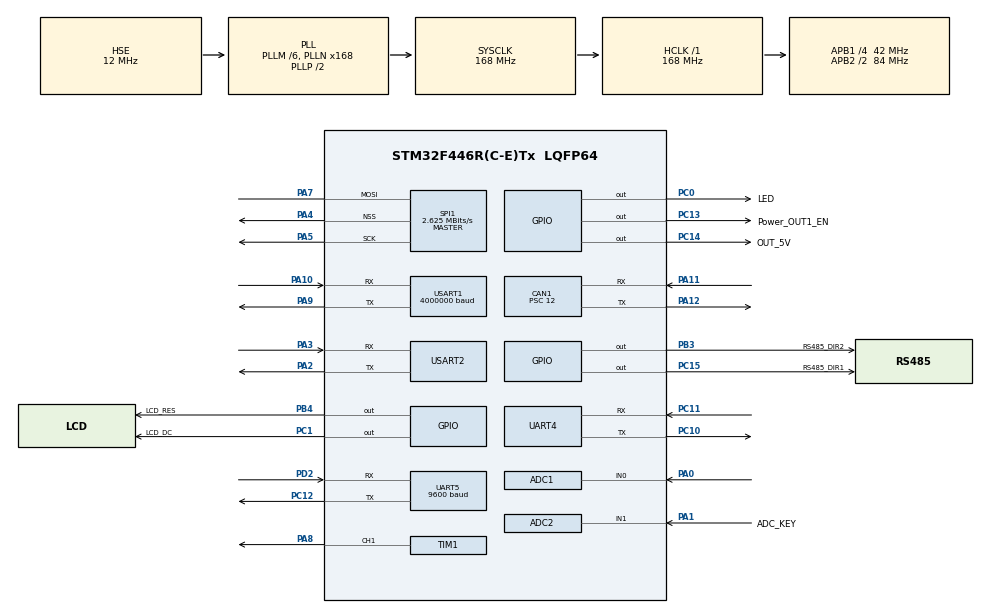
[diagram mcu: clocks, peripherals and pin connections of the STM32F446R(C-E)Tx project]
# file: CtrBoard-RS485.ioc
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ADC1.Channel-0\#ChannelRegularConversion=ADC_CHANNEL_0
ADC1.NbrOfConversionFlag=1
ADC1.Rank-0\#ChannelRegularConversion=1
ADC1.SamplingTime-0\#ChannelRegularConversion=ADC_SAMPLETIME_3CYCLES
ADC1.master=1
ADC2.Channel-0\#ChannelRegularConversion=ADC_CHANNEL_1
ADC2.NbrOfConversionFlag=1
ADC2.Rank-0\#ChannelRegularConversion=1
ADC2.SamplingTime-0\#ChannelRegularConversion=ADC_SAMPLETIME_3CYCLES
CAN1.BS1=CAN_BS1_10TQ
CAN1.BS2=CAN_BS2_3TQ
CAN1.CalculateBaudRate=250000
CAN1.CalculateTimeBit=4000
CAN1.CalculateTimeQuantum=285.7142857142857
CAN1.NART=ENABLE
CAN1.Prescaler=12
Dma.Request0=USART1_RX
Dma.Request1=USART1_TX
Dma.Request2=UART4_RX
Dma.UART4_RX.2.Direction=DMA_PERIPH_TO_MEMORY
Dma.UART4_RX.2.FIFOMode=DMA_FIFOMODE_DISABLE
Dma.UART4_RX.2.Instance=DMA1_Stream2
Dma.UART4_RX.2.MemDataAlignment=DMA_MDATAALIGN_BYTE
Dma.UART4_RX.2.MemInc=DMA_MINC_ENABLE
Dma.UART4_RX.2.Mode=DMA_NORMAL
Dma.UART4_RX.2.PeriphDataAlignment=DMA_PDATAALIGN_BYTE
Dma.UART4_RX.2.PeriphInc=DMA_PINC_DISABLE
Dma.UART4_RX.2.Priority=DMA_PRIORITY_HIGH
Dma.USART1_RX.0.Direction=DMA_PERIPH_TO_MEMORY
Dma.USART1_RX.0.FIFOMode=DMA_FIFOMODE_DISABLE
Dma.USART1_RX.0.Instance=DMA2_Stream2
Dma.USART1_RX.0.MemDataAlignment=DMA_MDATAALIGN_BYTE
Dma.USART1_RX.0.MemInc=DMA_MINC_ENABLE
Dma.USART1_RX.0.Mode=DMA_NORMAL
Dma.USART1_RX.0.PeriphDataAlignment=DMA_PDATAALIGN_BYTE
Dma.USART1_RX.0.PeriphInc=DMA_PINC_DISABLE
Dma.USART1_RX.0.Priority=DMA_PRIORITY_MEDIUM
Dma.USART1_TX.1.Direction=DMA_MEMORY_TO_PERIPH
Dma.USART1_TX.1.FIFOMode=DMA_FIFOMODE_DISABLE
Dma.USART1_TX.1.Instance=DMA2_Stream7
Dma.USART1_TX.1.MemDataAlignment=DMA_MDATAALIGN_BYTE
Dma.USART1_TX.1.MemInc=DMA_MINC_ENABLE
Dma.USART1_TX.1.Mode=DMA_NORMAL
Dma.USART1_TX.1.PeriphDataAlignment=DMA_PDATAALIGN_BYTE
Dma.USART1_TX.1.PeriphInc=DMA_PINC_DISABLE
Dma.USART1_TX.1.Priority=DMA_PRIORITY_MEDIUM
Mcu.Family=STM32F4
Mcu.Name=STM32F446R(C-E)Tx
Mcu.Package=LQFP64
NVIC.CAN1_RX0_IRQn=true\:0\:0\:false\:false\:true\:true\:true\:true
NVIC.DMA1_Stream2_IRQn=true\:0\:0\:false\:false\:true\:false\:true\:true
NVIC.DMA2_Stream2_IRQn=true\:0\:0\:false\:false\:true\:false\:true\:true
NVIC.DMA2_Stream7_IRQn=true\:0\:0\:false\:false\:true\:false\:true\:true
NVIC.PriorityGroup=NVIC_PRIORITYGROUP_4
NVIC.TIM3_IRQn=true\:0\:0\:false\:false\:true\:true\:true\:true
NVIC.UART4_IRQn=true\:0\:0\:false\:false\:true\:true\:true\:true
NVIC.UART5_IRQn=true\:0\:0\:false\:false\:true\:true\:true\:true
NVIC.USART1_IRQn=true\:0\:0\:false\:false\:true\:true\:true\:true
PA0-WKUP.Signal=ADCx_IN0
PA1.GPIO_Label=ADC_KEY
PA1.Signal=ADCx_IN1
PA10.Mode=Asynchronous
PA10.Signal=USART1_RX
PA11.Mode=CAN_Activate
PA11.Signal=CAN1_RX
PA12.Mode=CAN_Activate
PA12.Signal=CAN1_TX
PA13.Mode=Serial_Wire
PA13.Signal=SYS_JTMS-SWDIO
PA14.Mode=Serial_Wire
PA14.Signal=SYS_JTCK-SWCLK
PA2.Mode=Asynchronous
PA2.Signal=USART2_TX
PA3.Mode=Asynchronous
PA3.Signal=USART2_RX
PA4.Mode=NSS_Signal_Hard_Output
PA4.Signal=SPI1_NSS
PA5.Mode=Simplex_Bidirectional_Master
PA5.Signal=SPI1_SCK
PA7.Mode=Simplex_Bidirectional_Master
PA7.Signal=SPI1_MOSI
PA8.Signal=S_TIM1_CH1
PA9.Mode=Asynchronous
PA9.Signal=USART1_TX
PB3.GPIO_Label=RS485_DIR2
PB3.Signal=GPIO_Output
PB4.GPIO_Label=LCD_RES
PB4.GPIO_ModeDefaultOutputPP=GPIO_MODE_OUTPUT_PP
PB4.GPIO_PuPd=GPIO_PULLDOWN
PB4.GPIO_Speed=GPIO_SPEED_FREQ_HIGH
PB4.Signal=GPIO_Output
PC0.GPIO_Label=LED
PC0.GPIO_ModeDefaultOutputPP=GPIO_MODE_OUTPUT_PP
PC0.GPIO_PuPd=GPIO_NOPULL
PC0.GPIO_Speed=GPIO_SPEED_FREQ_LOW
PC0.PinState=GPIO_PIN_RESET
PC0.Signal=GPIO_Output
PC1.GPIO_Label=LCD_DC
PC1.GPIO_PuPd=GPIO_PULLUP
PC1.GPIO_Speed=GPIO_SPEED_FREQ_HIGH
PC1.Signal=GPIO_Output
PC10.Mode=Asynchronous
PC10.Signal=UART4_TX
PC11.Mode=Asynchronous
PC11.Signal=UART4_RX
PC12.Mode=Asynchronous
PC12.Signal=UART5_TX
PC13.GPIO_Label=Power_OUT1_EN
PC13.GPIO_Speed=GPIO_SPEED_FREQ_LOW
PC13.Signal=GPIO_Output
PC14-OSC32_IN.GPIO_Label=OUT_5V
PC14-OSC32_IN.Signal=GPIO_Output
PC15-OSC32_OUT.GPIO_Label=RS485_DIR1
PC15-OSC32_OUT.Signal=GPIO_Output
PD2.Mode=Asynchronous
PD2.Signal=UART5_RX
PH0-OSC_IN.Mode=HSE-External-Oscillator
PH0-OSC_IN.Signal=RCC_OSC_IN
PH1-OSC_OUT.Mode=HSE-External-Oscillator
PH1-OSC_OUT.Signal=RCC_OSC_OUT
ProjectManager.HeapSize=0x400
ProjectManager.StackSize=0x800
ProjectManager.TargetToolchain=MDK-ARM V5.27
RCC.AHBFreq_Value=168000000
RCC.APB1CLKDivider=RCC_HCLK_DIV4
RCC.APB1Freq_Value=42000000
RCC.APB1TimFreq_Value=84000000
RCC.APB2CLKDivider=RCC_HCLK_DIV2
RCC.APB2Freq_Value=84000000
RCC.APB2TimFreq_Value=168000000
RCC.CortexFreq_Value=168000000
RCC.HCLKFreq_Value=168000000
RCC.HSE_VALUE=12000000
RCC.PLLM=6
RCC.PLLN=168
RCC.PLLQ=7
RCC.PLLSAIM=6
RCC.PLLSAIN=96
RCC.PLLSAIP=RCC_PLLSAIP_DIV4
RCC.PLLSourceVirtual=RCC_PLLSOURCE_HSE
RCC.SYSCLKFreq_VALUE=168000000
RCC.SYSCLKSource=RCC_SYSCLKSOURCE_PLLCLK
RCC.USBFreq_Value=48000000
RCC.VCOOutputFreq_Value=336000000
SH.ADCx_IN0.0=ADC1_IN0,IN0
SH.ADCx_IN1.0=ADC2_IN1,IN1
SH.S_TIM1_CH1.0=TIM1_CH1,PWM Generation1 CH1
SPI1.BaudRatePrescaler=SPI_BAUDRATEPRESCALER_32
SPI1.CLKPhase=SPI_PHASE_1EDGE
SPI1.CLKPolarity=SPI_POLARITY_HIGH
SPI1.CalculateBaudRate=2.625 MBits/s
SPI1.Direction=SPI_DIRECTION_1LINE
SPI1.Mode=SPI_MODE_MASTER
SPI1.VirtualNSS=VM_NSSHARD
SPI1.VirtualType=VM_MASTER
TIM1.Channel-PWM\ Generation1\ CH1=TIM_CHANNEL_1
TIM1.Period=1000-1
TIM3.AutoReloadPreload=TIM_AUTORELOAD_PRELOAD_ENABLE
TIM3.Period=1000
TIM3.Prescaler=84
UART4.VirtualMode=Asynchronous
UART5.BaudRate=9600
UART5.VirtualMode=Asynchronous
USART1.BaudRate=4000000
USART1.VirtualMode=VM_ASYNC
USART2.VirtualMode=VM_ASYNC
VP_CRC_VS_CRC.Mode=CRC_Activate
VP_TIM3_VS_ClockSourceINT.Mode=Internal
board=custom

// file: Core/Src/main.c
/* USER CODE BEGIN Header */
/**
  ******************************************************************************
  * @file           : main.c
  * @brief          : Main program body
  ******************************************************************************
  * @attention
  *
  * <h2><center>&copy; Copyright (c) 2023 STMicroelectronics.
  * All rights reserved.</center></h2>
  *
  * This software component is licensed by ST under BSD 3-Clause license,
  * the "License"; You may not use this file except in compliance with the
  * License. You may obtain a copy of the License at:
  *                        opensource.org/licenses/BSD-3-Clause
  *
  ******************************************************************************
  */
/* USER CODE END Header */
#include "main.h"
#include "adc.h"
#include "can.h"
#include "crc.h"
#include "dma.h"
#include "spi.h"
#include "tim.h"
#include "usart.h"
#include "gpio.h"

/* USER CODE BEGIN PTD */
#include "rc_dog.h"

/* USER CODE END PTD */

/* USER CODE BEGIN PV */
//	extern CAN_HandleTypeDef hcan1;

	uint8_t buf[3];
	uint8_t lastBuf;

/* USER CODE END PV */

void SystemClock_Config(void);

/* USER CODE BEGIN 0 */
int jumpFlag=0;

//IMU

typedef struct
{
	CAN_RxHeaderTypeDef hdr;
	uint8_t payload[8];
}CAN_RxPacketTypeDef;
float EulerAngle[3];//32位变量

/* USER CODE END 0 */

int main(void)
{

  /* MCU Configuration--------------------------------------------------------*/

  /* Reset of all peripherals, Initializes the Flash interface and the Systick. */
  HAL_Init();

  /* Configure the system clock */
  SystemClock_Config();

  /* Initialize all configured peripherals */
  MX_GPIO_Init();
  MX_DMA_Init();
  MX_USART1_UART_Init();
  MX_USART2_UART_Init();
  MX_CRC_Init();
  MX_SPI1_Init();
  MX_TIM1_Init();
  MX_TIM3_Init();
  MX_ADC1_Init();
  MX_ADC2_Init();
  MX_UART5_Init();
  MX_UART4_Init();
  MX_CAN1_Init();
  /* USER CODE BEGIN 2 */
	can_filter_init();
	HAL_GPIO_WritePin(Power_OUT1_EN_GPIO_Port, Power_OUT1_EN_Pin, GPIO_PIN_SET);
	HAL_GPIO_WritePin(OUT_5V_GPIO_Port, OUT_5V_Pin, GPIO_PIN_SET);
	HAL_Delay(800);
//
	memcpy(StateDetachedParams_Copy,ALLParams,100*StatesMaxNum);//state_detached_params每个元素（DetachedParam型,即每种步态，外加一个u8的ID号）。
																			//实际占据的字节数为4*6*4+4=96+4=100（＋4而不是加1是因为要4字节对齐）。
																			//设定StatesMaxNum，则拷贝的上限为100*StateMaxNum，不要少拷贝，可以多拷贝，但多拷贝的不要用。
																			//该复制操作不要在任务中进行，而要在操作系统初始化之前进行，否则将给操作系统的运行造成奇怪的问题。
	ImuInit();
	LCD_1in69_test();
	HAL_Delay(40);
	MotorInit();
	HAL_UART_Receive_DMA(&huart4,buf,3);
  /* USER CODE END 2 */

  /* Infinite loop */
  /* USER CODE BEGIN WHILE */
  while (1)
  {

//		Paint_DrawNum(20, 0,rx_data[0],	&Font24, WHITE, BLACK);
//		Paint_DrawNum(20, 50,rx_data[1],	&Font24, WHITE, BLACK);
//		Paint_DrawNum(20, 100,rx_data[2],&Font24, WHITE, BLACK);
//		Paint_DrawNum(20, 150,rx_data[3],&Font24, WHITE, BLACK);
//		Paint_DrawNum(120, 0,rx_data[4],&Font24, WHITE, BLACK);
//		Paint_DrawNum(120, 50,rx_data[5],&Font24, WHITE, BLACK);
//		Paint_DrawNum(120, 100,rx_data[6],&Font24, WHITE, BLACK);
//		Paint_DrawNum(120, 150,rx_data[7],&Font24, WHITE, BLACK);

//		ExecuteJump();
//		CoupledMoveLeg(time, state_gait_params[1], 0, 1.0,3);
//InitPosture();

//			ChangeKpKd(0.08,0.02);
//			FrontLegCoordinateControl(-LegLenthMin*cos(60*PI/180),LegLenthMin*sin(81*PI/180));
//			BackLegCoordinateControl(-12*sin(30*PI/180),12*cos(30*PI/180));

   	HAL_UART_Receive_DMA(& huart4 ,buf,3);

		if(buf[0] == 97)
		{
			InitPosture();
			jumpFlag=0;
		}
		if(buf[0] == 98)
		{
			TortPosture(0);
		}
		if(buf[0] == 99)
		{
			TortPosture(1.0);
		}
		if(buf[0] == 100)
		{
			RotatePosture(0);
		}
		if(buf[0] == 101)
		{
			RotatePosture(1.0);
		}
		if(buf[0] == 102)
		{
			DogAttitudeControl();
		}
		if(buf[0] == 103)
		{
			ChangeKpKd(1.0,0.08);
			zuo_pingyi();
		}
		if(buf[0] == 104)
		{
			ChangeKpKd(1.0,0.08);
			you_pingyi();
		}
//		if(buf[0] == 105)
//		{
//			if(jumpFlag==0)
//					{
//						Start_Jump(HAL_GetTick());
//						jumpFlag=1;
//					}
//					ExecuteJump();
//		}
//		if(buf[0] == 106)
//		{
//			if(jumpFlag==0)
//					{
//						Start_Jump(HAL_GetTick());
//						jumpFlag=1;
//					}
//					ExecuteJump1();
//		}
//		if(buf[0] == 107)
//		{
//			if(jumpFlag==0)
//					{
//						Start_Jump(HAL_GetTick());
//						jumpFlag=1;
//					}
//					ExecuteJump2();
//		}
//		if(buf[0] == 108)
//		{
//			if(jumpFlag==0)
//					{
//						Start_Jump(HAL_GetTick());
//						jumpFlag=1;
//					}
//					BackFlip();
//		}
//		if(buf[0] == 109)
//		{
//			if(jumpFlag==0)
//					{
//						Start_Jump(HAL_GetTick());
//						jumpFlag=1;
//					}
//					ExecuteJump4();
//		}
//		if(buf[0] == 110)
//		{
//			if(jumpFlag==0)
//					{
//						Start_Jump(HAL_GetTick());
//						jumpFlag=1;
//					}
//					BigJump();
//		}
//

//	IK(1.0);//运动学逆解得到角度
//	theta2=the1/360*6.2832f; 	//角度转换成弧度
//	theta1=the1/360*6.2832f;   //角度转换成弧度
//	//printf("the1=%f\r\n,the2=%f\r\n",omega1+the2,omega2+the1);
//	motor_init1(omega1+theta2);
//	SERVO_Send_recv(&Motor[1], &data[1]);	//将控制指令发送给电机，同时接收返回值
//		SERVO_Send_recv(&Motor[1], &data[1]);	//将控制指令发送给电机，同时接收返回值
////	Data_process2(&data[0]);
////		setting1(0,20,1.0);
////		key();
////		voltage = get_battery_voltage();
////			setting(0,i,1.0,1);
////			i++;
////			HAL_Delay(1000);
////			if(i>25)
////			{
////				i=10;
////			}
////			setting(5,20,1.0,1);
////		CoupledMoveLeg(time,state_gait_params[1],0,-1.0,1);
////		CoupledMoveLeg(time,state_gait_params[1],0.5,1.0,2);
////		CoupledMoveLeg(time,state_gait_params[1],0.5,1.0,3);
////		CoupledMoveLeg(time,state_gait_params[1],0,1.0,4);

//			Paint_DrawFloatNum (150, 150, ALLParams[1].detached_params_0.step_length,3, &Font24, WHITE, BLACK);
//			Paint_DrawFloatNum (150, 200, ALLParams[1].detached_params_1.step_length,3, &Font24, WHITE, BLACK);
//			Paint_DrawFloatNum (0, 150, ALLParams[1].detached_params_0.step_length,3, &Font24, WHITE, BLACK);
//			Paint_DrawFloatNum (0, 200, ALLParams[1].detached_params_1.step_length,3, &Font24, WHITE, BLACK);

//		setting1(70,150);//站立函数一
//		i++;
//		HAL_Delay(100);
//    cmd.W++;
//		HAL_GPIO_TogglePin(LED_GPIO_Port,LED_Pin);

    /* USER CODE END WHILE */

  }
}

void SystemClock_Config(void)
{
  RCC_OscInitTypeDef RCC_OscInitStruct = {0};
  RCC_ClkInitTypeDef RCC_ClkInitStruct = {0};

  /** Configure the main internal regulator output voltage
  */
  __HAL_RCC_PWR_CLK_ENABLE();
  __HAL_PWR_VOLTAGESCALING_CONFIG(PWR_REGULATOR_VOLTAGE_SCALE1);

  /** Initializes the RCC Oscillators according to the specified parameters
  * in the RCC_OscInitTypeDef structure.
  */
  RCC_OscInitStruct.OscillatorType = RCC_OSCILLATORTYPE_HSE;
  RCC_OscInitStruct.HSEState = RCC_HSE_ON;
  RCC_OscInitStruct.PLL.PLLState = RCC_PLL_ON;
  RCC_OscInitStruct.PLL.PLLSource = RCC_PLLSOURCE_HSE;
  RCC_OscInitStruct.PLL.PLLM = 6;
  RCC_OscInitStruct.PLL.PLLN = 168;
  RCC_OscInitStruct.PLL.PLLP = RCC_PLLP_DIV2;
  RCC_OscInitStruct.PLL.PLLQ = 7;
  RCC_OscInitStruct.PLL.PLLR = 2;
  if (HAL_RCC_OscConfig(&RCC_OscInitStruct) != HAL_OK)
  {
    Error_Handler();
  }

  /** Initializes the CPU, AHB and APB buses clocks
  */
  RCC_ClkInitStruct.ClockType = RCC_CLOCKTYPE_HCLK|RCC_CLOCKTYPE_SYSCLK
                              |RCC_CLOCKTYPE_PCLK1|RCC_CLOCKTYPE_PCLK2;
  RCC_ClkInitStruct.SYSCLKSource = RCC_SYSCLKSOURCE_PLLCLK;
  RCC_ClkInitStruct.AHBCLKDivider = RCC_SYSCLK_DIV1;
  RCC_ClkInitStruct.APB1CLKDivider = RCC_HCLK_DIV4;
  RCC_ClkInitStruct.APB2CLKDivider = RCC_HCLK_DIV2;

  if (HAL_RCC_ClockConfig(&RCC_ClkInitStruct, FLASH_LATENCY_5) != HAL_OK)
  {
    Error_Handler();
  }
}

/* USER CODE BEGIN 4 */

void HAL_CAN_RxFifo0MsgPendingCallback(CAN_HandleTypeDef *hcan)
{
//	    CAN_RxHeaderTypeDef rx_header;
//			uint8_t rx_data[8];

//			HAL_CAN_GetRxMessage(hcan, CAN_RX_FIFO0, &rx_header, rx_data);
		static CAN_RxPacketTypeDef packet;
    // CAN数据接收
    if (hcan->Instance == hcan1.Instance)
    {
        if (HAL_CAN_GetRxMessage(hcan, CAN_RX_FIFO0, &packet.hdr, packet.payload) == HAL_OK)		//获得接收到的数据头和数据
					{
						if(packet.payload[0]== 0x55 &&	packet.payload[1] == 0x53)
						{
							EulerAngle[ROLL]=(int16_t)((int16_t)packet.payload[3] << 8 | packet.payload[2]);
							EulerAngle[PITCH]=(int16_t)((int16_t)packet.payload[5] << 8 | packet.payload[4]);
							EulerAngle[YAW]=(int16_t)((int16_t)packet.payload[7] << 8 | packet.payload[6]);

							EulerAngle[ROLL] = EulerAngle[ROLL] / 32768.0f * 180.0f;
							EulerAngle[PITCH] = EulerAngle[PITCH] / 32768.0f * 180.0f;
							EulerAngle[YAW] = EulerAngle[YAW] / 32768.0f * 180.0f;

//							Paint_DrawFloatNum (100, 20, EulerAngle[ROLL],3, &Font24, WHITE, BLACK);
//							Paint_DrawFloatNum (100, 70, 	EulerAngle[PITCH] ,3, &Font24, WHITE, BLACK);
//							Paint_DrawFloatNum (100, 120, EulerAngle[YAW],3, &Font24, WHITE, BLACK);
						}

							HAL_CAN_ActivateNotification(hcan, CAN_IT_RX_FIFO0_MSG_PENDING);						// 再次使能FIFO0接收中断
					}
    }
}

void  HAL_TIM_PeriodElapsedCallback(TIM_HandleTypeDef *htim)
{
	if (htim->Instance == TIM3)
	{

	}
}

/* USER CODE END 4 */

void Error_Handler(void)
{
}
